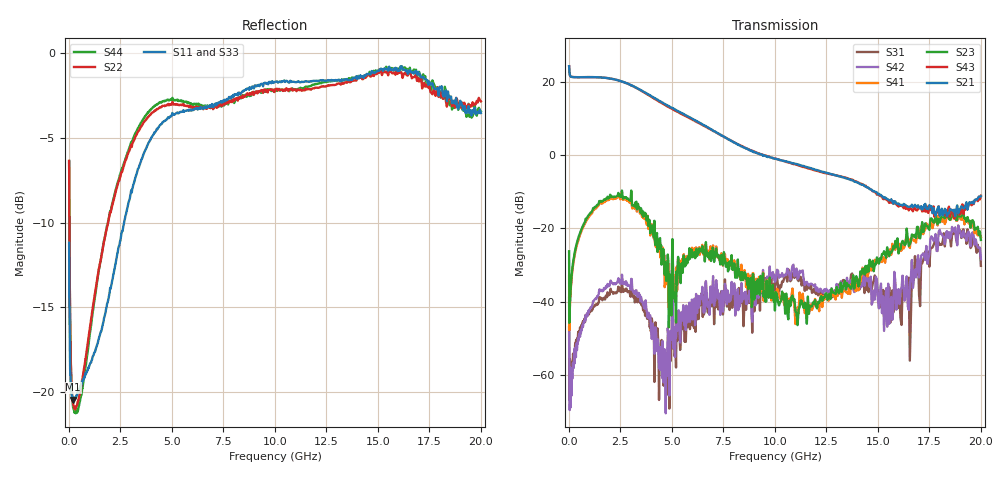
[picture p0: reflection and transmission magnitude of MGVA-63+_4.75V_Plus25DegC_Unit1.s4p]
!Mini-Circuits Laboratory
!S-Parameters
!Model: MGVA-63+
!Run / Lot / Date Code: NA / AH404P001-04 / 1348
!Fixture: NA; TB-561+
!AUTO PORT EXTENSION DONE: PORT<1>=113.62ps; PORT<2>=112.79ps; PORT<3>=112.29ps; PORT<4>=112.3ps
!Network Analyzer: PNA-X N5242A - 423 4 ports;  Serial number: 71256
!Date: 2/10/20114
!S/N: Unit# 1
!Correction: S11(Full 4 Port(1,2,3,4))
!S12(Full 4 Port(1,2,3,4))
!S13(Full 4 Port(1,2,3,4))
!S14(Full 4 Port(1,2,3,4))
!S21(Full 4 Port(1,2,3,4))
!S22(Full 4 Port(1,2,3,4))
!S23(Full 4 Port(1,2,3,4))
!S24(Full 4 Port(1,2,3,4))
!S31(Full 4 Port(1,2,3,4))
!S32(Full 4 Port(1,2,3,4))
!S33(Full 4 Port(1,2,3,4))
!S34(Full 4 Port(1,2,3,4))
!S41(Full 4 Port(1,2,3,4))
!S42(Full 4 Port(1,2,3,4))
!S43(Full 4 Port(1,2,3,4))
!S44(Full 4 Port(1,2,3,4))
!S4P File: Measurements: <S11,S12,S13,S14>,
!<S21,S22,S23,S24>,
!<S31,S32,S33,S34>,
!<S41,S42,S43,S44>:
# Hz S  dB  R 50
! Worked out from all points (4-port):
!   660 points, 10 MHz to 20 GHz, reference 50 ohm
!   strongest paths, dB at 10 MHz, 2.65 GHz, 6.775 GHz, 11.8 GHz, 20 GHz:
!     S21: 24.2, 19.9, 7.4, -3.7, -11.3
!     S43: 24.2, 19.9, 7.2, -4.0, -11.1
!     S23: -26.3, -11.8, -27.9, -41.3, -23.2
!     S41: -33.0, -12.2, -26.1, -42.3, -22.4
!     S42: -38.9, -35.2, -40.2, -35.2, -28.4
!     S31: -47.0, -37.4, -39.5, -37.6, -30.3
!   lowest |S11| = -20.5 dB at 210 MHz (marker M1), VSWR 1.21, Z = 41.3 - j0.32 ohm
!   |S11| at or under -10 dB: start of sweep to 2.677 GHz
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1e7  -11.20 -44.8  -27.26 21.4  -36.28 -74.6  -46.16 -100.3
     24.21 169.2  -6.35 -26.6  -26.30 -56.4  -35.39 -84.2
     -46.99 44.7  -50.46 22.4  -10.92 -46.1  -28.17 20.7
     -33.03 74.3  -38.93 41.5  24.16 169.0  -6.37 -29.5
2.1e8  -20.46 -177.7  -24.34 -0.3  -53.59 84.2  -70.55 34.0
       21.22 169.0  -20.77 -52.8  -29.08 70.8  -58.12 93.9
       -54.78 94.6  -68.79 47.7  -20.46 -175.7  -24.39 -0.1
       -29.68 71.6  -57.81 100.5  21.23 169.1  -20.90 -51.9
1.85e9  -14.82 133.6  -23.33 -23.2  -38.52 52.4  -62.11 91.1
        20.98 100.9  -10.27 169.2  -11.84 -30.9  -35.55 57.6
        -38.78 57.0  -62.11 121.0  -14.50 135.4  -23.34 -24.0
        -12.29 -28.9  -36.08 61.7  20.99 100.4  -10.19 166.6
3.375e9  -6.79 96.3  -23.73 -56.6  -38.08 -29.7  -56.37 66.7
         18.01 31.9  -4.60 95.8  -14.27 -160.6  -37.14 -37.2
         -37.63 -22.3  -56.37 82.9  -6.67 93.4  -23.84 -58.1
         -14.47 -159.9  -37.83 -31.4  17.96 30.6  -4.40 94.9
5.825e9  -3.33 61.6  -27.44 -91.5  -50.48 -52.1  -56.77 30.8
         10.37 -46.8  -3.11 53.2  -28.57 -109.7  -45.74 -40.7
         -43.07 -11.3  -50.81 47.6  -3.32 57.8  -27.74 -89.7
         -27.36 -88.0  -41.89 -9.5  10.13 -46.8  -2.91 56.9
8.75e9  -2.16 53.2  -30.38 -90.7  -40.24 -85.0  -37.15 -43.1
        1.31 -107.9  -2.47 51.1  -34.93 137.5  -38.17 -75.3
        -40.38 -81.6  -38.06 -41.5  -2.15 48.9  -29.86 -100.6
        -35.93 139.2  -37.08 -75.8  1.48 -109.3  -2.41 51.3
2e10  -3.53 -16.6  -32.92 -5.3  -28.72 83.6  -20.61 -60.6
      -11.27 108.9  -2.84 -7.4  -23.19 -60.5  -29.27 74.2
      -30.25 76.0  -20.79 -64.7  -3.47 -12.0  -26.58 42.2
      -22.44 -55.2  -28.45 81.6  -11.13 108.1  -3.44 -6.3
